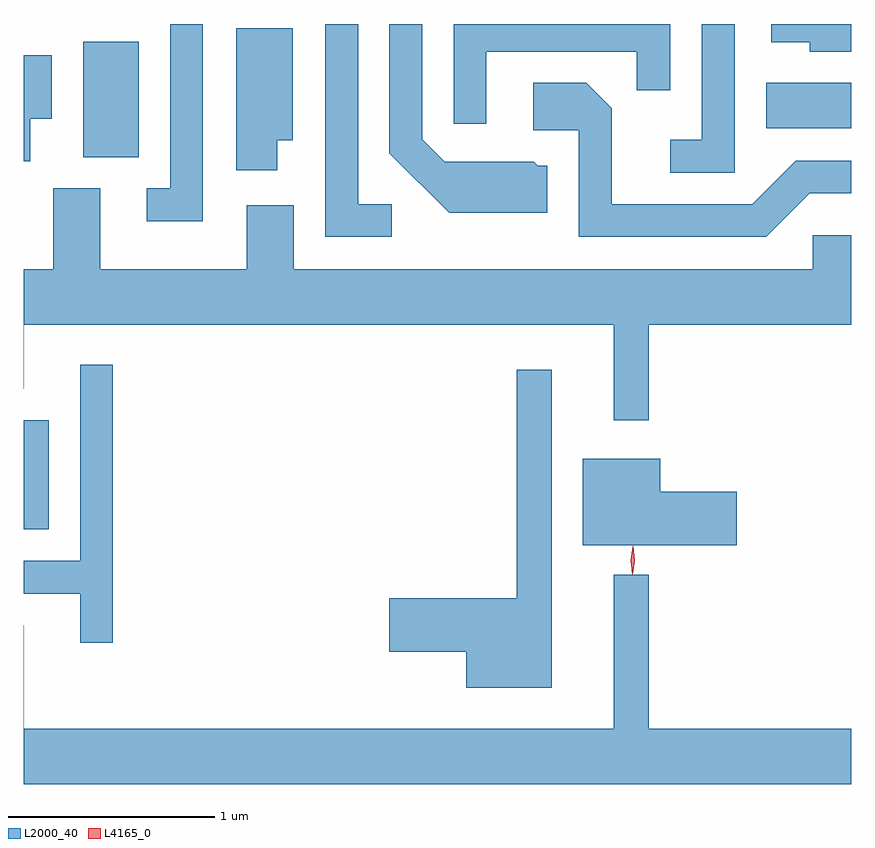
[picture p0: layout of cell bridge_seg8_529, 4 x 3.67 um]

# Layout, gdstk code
import gdstk
lib = gdstk.Library(unit=1e-6, precision=1e-09)
def R(c, l, rs):  # rectangles x0, y0, x1, y1
    for r in rs: c.add(gdstk.rectangle(r[:2], r[2:], *l))
def P(c, l, *ps):  # polygons
    for p in ps: c.add(gdstk.Polygon(p, *l))
L2000_40 = (2000, 40)
L4165_0 = (4165, 0)

bridge_seg8_529 = lib.new_cell('bridge_seg8_529')
R(bridge_seg8_529, L2000_40, [(310.838,1875.386,310.959,1875.914), (311.126,1877.186,311.394,1877.744), (314.426,1877.326,314.838,1877.544)])
P(bridge_seg8_529, L2000_40, [(311.704,1877.829),(311.546,1877.829),(311.546,1877.034),(311.433,1877.034),(311.433,1876.876),(311.704,1876.876)],
  [(312.618,1876.959),(312.454,1876.959),(312.454,1877.829),(312.296,1877.829),(312.296,1876.801),(312.618,1876.801)],
  [(314.274,1877.829),(314.116,1877.829),(314.116,1877.269),(313.963,1877.269),(313.963,1877.111),(314.274,1877.111)],
  [(313.369,1877.144),(313.322,1877.144),(313.302,1877.164),(312.872,1877.164),(312.764,1877.272),(312.764,1877.829),(312.606,1877.829),(312.606,1877.204),(312.894,1876.916),(313.369,1876.916)],
  [(314.838,1877.829),(314.451,1877.829),(314.451,1877.741),(314.636,1877.741),(314.636,1877.696),(314.838,1877.696)],
  [(313.074,1877.696),(313.801,1877.696),(313.801,1877.508),(313.964,1877.508),(313.964,1877.829),(312.916,1877.829),(312.916,1877.348),(313.074,1877.348)],
  [(312.064,1877.266),(312.139,1877.266),(312.139,1877.809),(311.866,1877.809),(311.866,1877.121),(312.064,1877.121)],
  [(310.869,1877.371),(310.974,1877.371),(310.974,1877.679),(310.838,1877.679),(310.838,1877.166),(310.869,1877.166)],
  [(314.637,1877.011),(314.838,1877.011),(314.838,1877.169),(314.569,1877.169),(314.359,1876.959),(313.679,1876.959),(313.679,1877.422),(313.557,1877.544),(313.301,1877.544),(313.301,1877.316),(313.521,1877.316),(313.521,1876.801),(314.427,1876.801)],
  [(313.859,1876.376),(314.838,1876.376),(314.838,1876.809),(314.651,1876.809),(314.651,1876.644),(312.144,1876.644),(312.144,1876.954),(311.916,1876.954),(311.916,1876.644),(311.209,1876.644),(311.209,1877.034),(310.981,1877.034),(310.981,1876.644),(310.838,1876.644),(310.838,1876.066),(310.839,1876.066),(310.839,1876.376),(313.691,1876.376),(313.691,1875.913),(313.859,1875.913)],
  [(311.269,1876.183),(311.111,1876.183),(311.111,1875.234),(310.838,1875.234),(310.838,1875.076),(311.111,1875.076),(311.111,1874.838),(311.269,1874.838)],
  [(313.389,1876.158),(313.221,1876.158),(313.221,1875.054),(312.606,1875.054),(312.606,1874.796),(312.976,1874.796),(312.976,1874.621),(313.389,1874.621)],
  [(314.284,1875.569),(313.914,1875.569),(313.914,1875.729),(313.541,1875.729),(313.541,1875.311),(314.284,1875.311)],
  [(314.838,1874.424),(313.859,1874.424),(313.859,1875.168),(313.691,1875.168),(313.691,1874.424),(310.839,1874.424),(310.839,1874.924),(310.838,1874.924),(310.838,1874.156),(314.838,1874.156)])
P(bridge_seg8_529, L4165_0, [(313.78,1875.17),(313.78,1875.17),(313.771,1875.238),(313.782,1875.305),(313.782,1875.306),(313.783,1875.305),(313.791,1875.238),(313.781,1875.17)],
  [(313.78,1875.173),(313.78,1875.174),(313.771,1875.236),(313.782,1875.299),(313.782,1875.3),(313.783,1875.299),(313.791,1875.236),(313.781,1875.174)])

lib.write_gds('bridge_seg8_529.gds')
